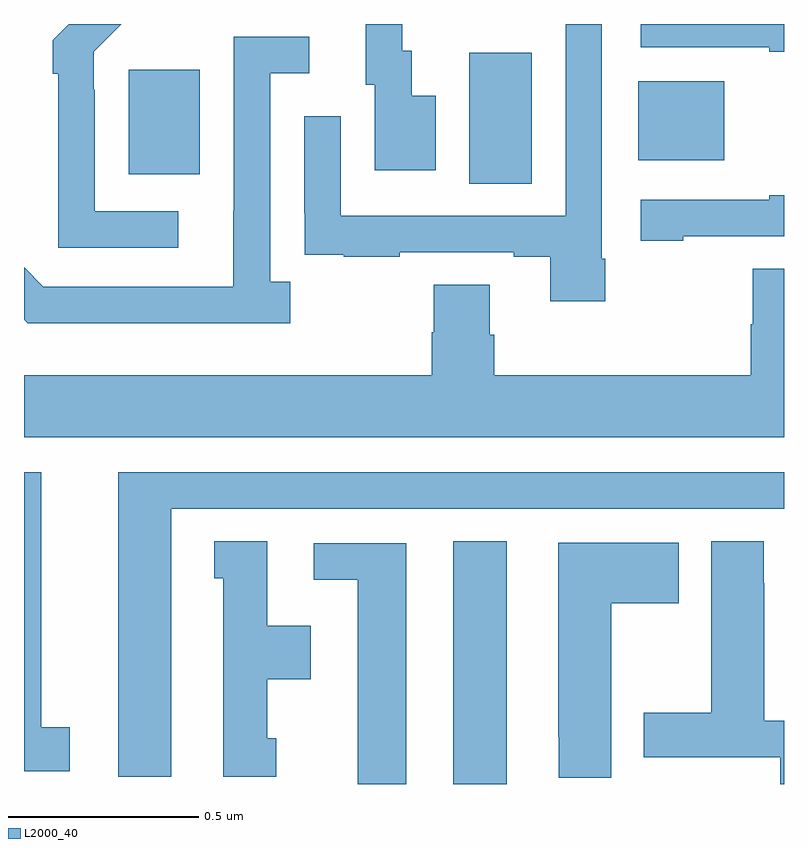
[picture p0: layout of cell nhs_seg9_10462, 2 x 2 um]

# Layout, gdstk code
import gdstk
lib = gdstk.Library(unit=1e-6, precision=1e-09)
def R(c, l, rs):  # rectangles x0, y0, x1, y1
    for r in rs: c.add(gdstk.rectangle(r[:2], r[2:], *l))
def P(c, l, *ps):  # polygons
    for p in ps: c.add(gdstk.Polygon(p, *l))
L2000_40 = (2000, 40)

nhs_seg9_10462 = lib.new_cell('nhs_seg9_10462')
R(nhs_seg9_10462, L2000_40, [(244.13,1203.5,244.27,1204.139), (244.172,1205.08,244.336,1205.424), (243.275,1205.105,243.463,1205.38), (244.616,1205.141,244.843,1205.35)])
P(nhs_seg9_10462, L2000_40, [(244.53,1204.882),(244.521,1204.882),(244.521,1205.5),(244.425,1205.5),(244.425,1204.995),(243.834,1204.995),(243.834,1205.257),(243.738,1205.257),(243.738,1205.002),(243.739,1205.002),(243.739,1204.893),(243.841,1204.893),(243.841,1204.887),(243.989,1204.887),(243.989,1204.899),(244.289,1204.899),(244.289,1204.887),(244.385,1204.887),(244.385,1204.77),(244.53,1204.77)],
  [(245,1205.5),(244.623,1205.5),(244.623,1205.439),(244.961,1205.439),(244.961,1205.427),(245,1205.427)],
  [(243.406,1205.007),(243.186,1205.007),(243.186,1205.327),(243.183,1205.327),(243.183,1205.427),(243.256,1205.5),(243.118,1205.5),(243.075,1205.457),(243.075,1205.369),(243.09,1205.369),(243.09,1204.911),(243.406,1204.911)],
  [(244.084,1205.311),(244.021,1205.311),(244.021,1205.43),(243.996,1205.43),(243.996,1205.5),(243.899,1205.5),(243.899,1205.34),(243.923,1205.34),(243.923,1205.115),(244.084,1205.115)],
  [(243.7,1204.822),(243.648,1204.822),(243.648,1205.37),(243.751,1205.37),(243.751,1205.466),(243.552,1205.466),(243.552,1205.009),(243.551,1205.009),(243.551,1204.809),(243.051,1204.809),(243,1204.86),(243,1204.722),(243.01,1204.712),(243.7,1204.712)],
  [(244.735,1204.941),(245,1204.941),(245,1205.05),(244.961,1205.05),(244.961,1205.037),(244.623,1205.037),(244.623,1204.929),(244.735,1204.929)],
  [(245,1204.856),(244.918,1204.856),(244.918,1204.71),(244.913,1204.71),(244.913,1204.576),(244.238,1204.576),(244.238,1204.682),(244.225,1204.682),(244.225,1204.814),(244.078,1204.814),(244.078,1204.689),(244.073,1204.689),(244.073,1204.576),(243,1204.576),(243,1204.412),(245,1204.412)],
  [(243.388,1204.224),(245,1204.224),(245,1204.32),(243.248,1204.32),(243.248,1203.519),(243.388,1203.519)],
  [(243.121,1203.65),(243.046,1203.65),(243.046,1204.32),(243,1204.32),(243,1203.534),(243.121,1203.534)],
  [(243.664,1203.621),(243.64,1203.621),(243.64,1203.776),(243.754,1203.776),(243.754,1203.916),(243.64,1203.916),(243.64,1204.139),(243.5,1204.139),(243.5,1204.041),(243.524,1204.041),(243.524,1203.519),(243.664,1203.519)],
  [(245,1203.666),(244.948,1203.666),(244.948,1204.028),(244.947,1204.028),(244.947,1204.139),(244.808,1204.139),(244.808,1203.687),(244.631,1203.687),(244.631,1203.57),(244.99,1203.57),(244.99,1203.5),(245,1203.5)],
  [(244.546,1203.976),(244.723,1203.976),(244.723,1204.135),(244.406,1204.135),(244.406,1203.625),(244.407,1203.625),(244.407,1203.517),(244.546,1203.517)],
  [(244.006,1204.134),(243.762,1204.134),(243.762,1204.038),(243.878,1204.038),(243.878,1203.5),(244.006,1203.5)])

lib.write_gds('nhs_seg9_10462.gds')
